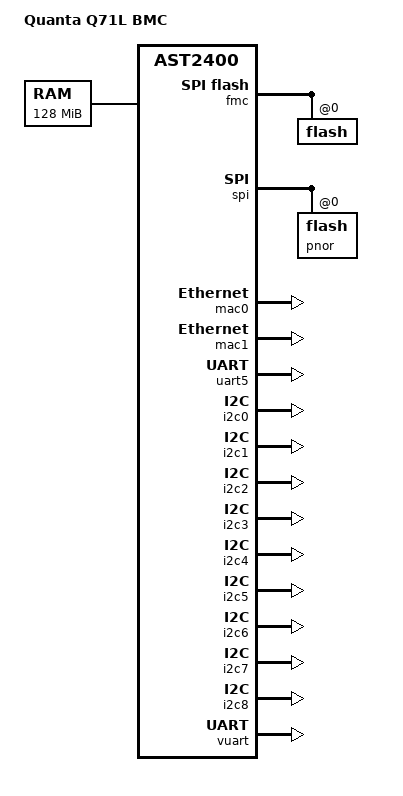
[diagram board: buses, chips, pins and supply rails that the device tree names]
/dts-v1/;

#include "aspeed-g4.dtsi"
#include <dt-bindings/gpio/aspeed-gpio.h>

/ {
	model = "Quanta Q71L BMC";
	compatible = "quanta,q71l-bmc", "aspeed,ast2400";

	aliases {
		serial4 = &uart5;
	};

	chosen {
		stdout-path = &uart5;
		bootargs = "console=ttyS4,115200 earlyprintk";
	};

	memory {
		reg = <0x40000000 0x8000000>;
	};

	reserved-memory {
		#address-cells = <1>;
		#size-cells = <1>;
		ranges;

		vga_memory: framebuffer@47800000 {
			no-map;
			reg = <0x47800000 0x00800000>; /* 8MB */
		};
	};
};

&fmc {
	status = "okay";
	flash@0 {
		status = "okay";
		m25p,fast-read;
#include "aspeed-bmc-opp-flash-layout.dtsi"
	};
};

&spi {
	status = "okay";
	pinctrl-names = "default";
	pinctrl-0 = <&pinctrl_spi1_default>;

	flash@0 {
		status = "okay";
		m25p,fast-read;
		label = "pnor";
	};
};

&pinctrl {
	pinctrl-names = "default";
	pinctrl-0 = <&pinctrl_vgahs_default &pinctrl_vgavs_default
			&pinctrl_ddcclk_default &pinctrl_ddcdat_default>;
};

&mac0 {
	status = "okay";

	use-ncsi;
	no-hw-checksum;
};

&mac1 {
	status = "okay";

	pinctrl-names = "default";
	pinctrl-0 = <&pinctrl_rgmii2_default &pinctrl_mdio2_default>;
};

&uart5 {
	status = "okay";
};

&i2c0 {
	status = "okay";
};

&i2c1 {
	status = "okay";
};

&i2c2 {
	status = "okay";
};

&i2c3 {
	status = "okay";
};

&i2c4 {
	status = "okay";
};

&i2c5 {
	status = "okay";
};

&i2c6 {
	status = "okay";
};

&i2c7 {
	status = "okay";
};

&i2c8 {
	status = "okay";
};

&vuart {
	status = "okay";
};
